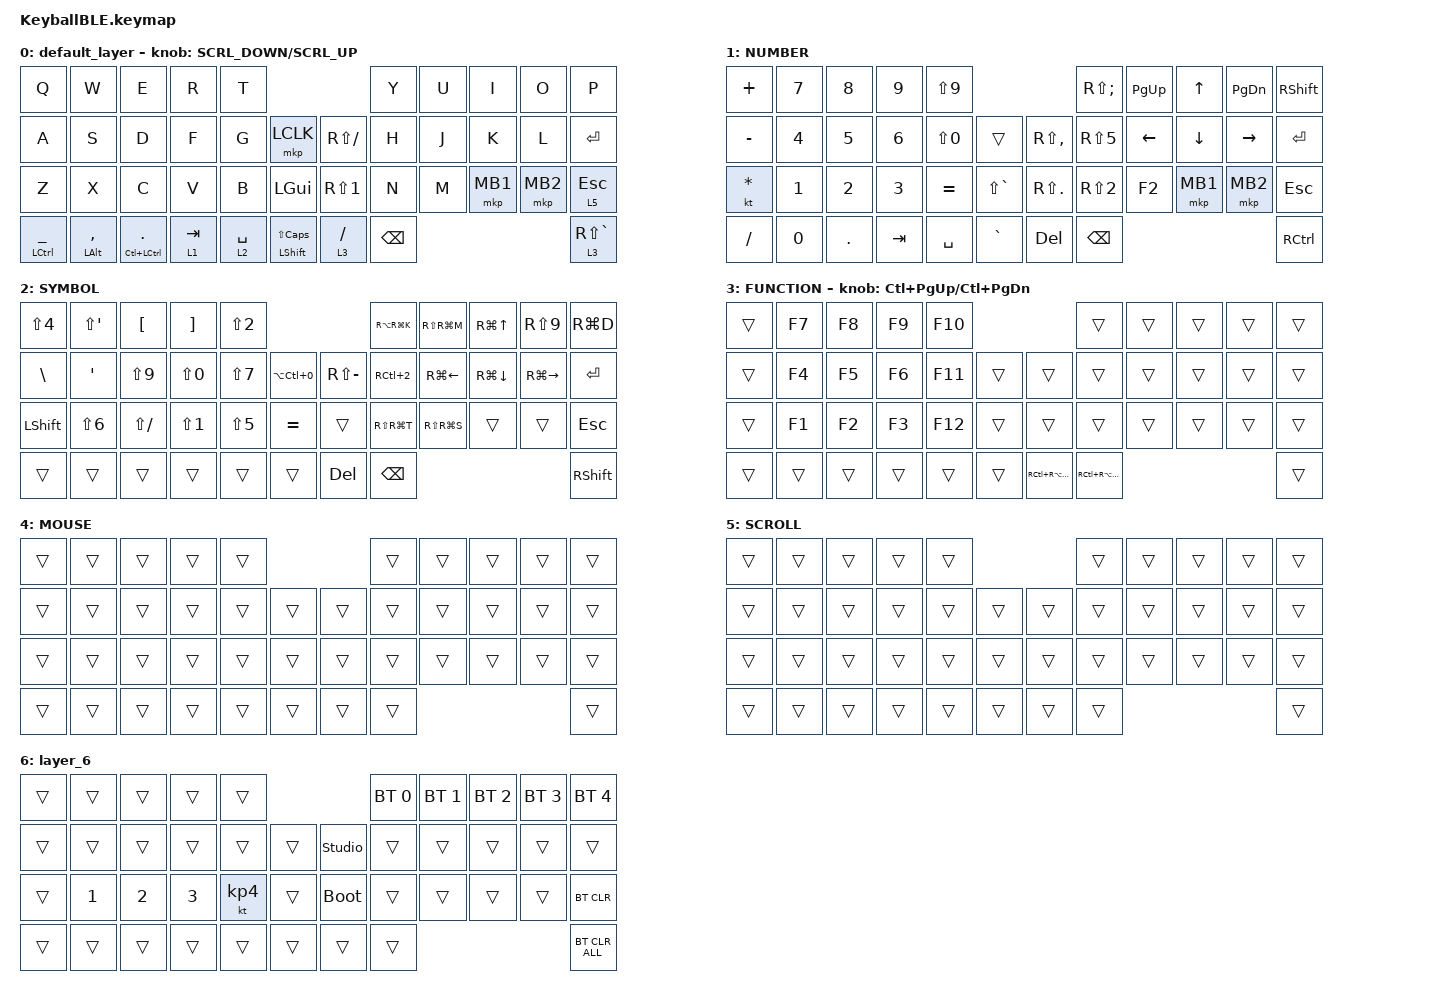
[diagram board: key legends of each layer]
#define ZMK_POINTING_DEFAULT_SCRL_VAL 120    // default: 10

#include <behaviors.dtsi>
#include <dt-bindings/zmk/bt.h>
#include <dt-bindings/zmk/keys.h>
#include <dt-bindings/zmk/pointing.h>

#define MOUSE 4
#define SCROLL 5
#define NUM 6

&mt {
    flavor = "balanced";
    quick-tap-ms = <0>;
};

/ {
    combos {
        compatible = "zmk,combos";

        double_quotation {
            bindings = <&kp DOUBLE_QUOTES>;
            key-positions = <20 21>;
        };
    };

    macros {
        to_layer_0: to_layer_0 {
            compatible = "zmk,behavior-macro-one-param";
            #binding-cells = <1>;
            bindings = <&to 0 &macro_param_1to1 &kp MACRO_PLACEHOLDER>;
            label = "TO_LAYER_0";
        };
    };

    behaviors {
        lt_to_layer_0: lt_to_layer_0 {
            compatible = "zmk,behavior-hold-tap";
            label = "LAYER_TAP_TO_0";
            bindings = <&mo>, <&to_layer_0>;

            #binding-cells = <2>;
            tapping-term-ms = <200>;
        };

        ROTATE: ROTATE {
            compatible = "zmk,behavior-sensor-rotate-var";
            label = "ROTATE";
            #sensor-binding-cells = <2>;
            bindings = <&msc>, <&msc>;

            tap-ms = <20>;
        };
    };

    keymap {
        compatible = "zmk,keymap";

        default_layer {
            bindings = <
&kp Q                        &kp W               &kp E                        &kp R      &kp T                                                       &kp Y          &kp U  &kp I     &kp O     &kp P
&kp A                        &kp S               &kp D                        &kp F      &kp G        &mkp LCLK                    &kp RS(SLASH)     &kp H          &kp J  &kp K     &kp L     &kp ENTER
&kp Z                        &kp X               &kp C                        &kp V      &kp B        &kp LEFT_GUI                 &kp RS(NUMBER_1)  &kp N          &kp M  &mkp MB1  &mkp MB2  &lt 5 ESCAPE
&mt LEFT_CONTROL UNDERSCORE  &mt LEFT_ALT COMMA  &mt LC(LEFT_CONTROL) PERIOD  &lt 1 TAB  &lt 2 SPACE  &mt LEFT_SHIFT LS(CAPS)      &lt 3 SLASH       &kp BACKSPACE                             &lt 3 RS(GRAVE)
            >;

            sensor-bindings = <&ROTATE SCRL_DOWN SCRL_UP>;
        };

        NUMBER {
            bindings = <
&kp PLUS   &kp N7        &kp N8      &kp N9   &kp LS(N9)                                    &kp RS(SEMI)  &kp PAGE_UP     &kp UP_ARROW    &kp PAGE_DOWN    &kp RSHFT
&kp MINUS  &kp N4        &kp N5      &kp N6   &kp LS(N0)  &trans             &kp RS(COMMA)  &kp RS(N5)    &kp LEFT_ARROW  &kp DOWN_ARROW  &kp RIGHT_ARROW  &kp ENTER
&kt STAR   &kp N1        &kp N2      &kp N3   &kp EQUAL   &kp LS(GRAVE)      &kp RS(DOT)    &kp RS(N2)    &kp F2          &mkp MB1        &mkp MB2         &kp ESC
&kp FSLH   &kp NUMBER_0  &kp PERIOD  &kp TAB  &kp SPACE   &kp GRAVE          &kp DEL        &kp BSPC                                                       &kp RIGHT_CONTROL
            >;
        };

        SYMBOL {
            bindings = <
&kp LS(N4)  &kp LS(APOS)  &kp LBKT      &kp RBKT    &kp LS(N2)                                     &kp RA(RG(K))  &kp RS(RG(M))       &kp RG(UP_ARROW)    &kp RS(N9)           &kp RG(D)
&kp BSLH    &kp APOS      &kp LS(N9)    &kp LS(N0)  &kp LS(N7)  &kp LA(LC(N0))      &kp RS(MINUS)  &kp RC(N2)     &kp RG(LEFT_ARROW)  &kp RG(DOWN_ARROW)  &kp RG(RIGHT_ARROW)  &kp ENTER
&kp LSHFT   &kp LS(N6)    &kp LS(FSLH)  &kp LS(N1)  &kp LS(N5)  &kp EQUAL           &trans         &kp RS(RG(T))  &kp RS(RG(S))       &trans              &trans               &kp ESC
&trans      &trans        &trans        &trans      &trans      &trans              &kp DEL        &kp BSPC                                                                    &kp RSHFT
            >;
        };

        FUNCTION {
            bindings = <
&trans  &kp F7  &kp F8  &kp F9  &kp F10                               &trans           &trans  &trans  &trans  &trans
&trans  &kp F4  &kp F5  &kp F6  &kp F11  &trans      &trans           &trans           &trans  &trans  &trans  &trans
&trans  &kp F1  &kp F2  &kp F3  &kp F12  &trans      &trans           &trans           &trans  &trans  &trans  &trans
&trans  &trans  &trans  &trans  &trans   &trans      &kp RC(RA(END))  &kp RC(RA(DEL))                          &trans
            >;

            sensor-bindings = <&inc_dec_kp LC(PAGE_UP) LC(PAGE_DOWN)>;
        };

        MOUSE {
            bindings = <
&trans  &trans  &trans  &trans  &trans                      &trans  &trans  &trans  &trans  &trans
&trans  &trans  &trans  &trans  &trans  &trans      &trans  &trans  &trans  &trans  &trans  &trans
&trans  &trans  &trans  &trans  &trans  &trans      &trans  &trans  &trans  &trans  &trans  &trans
&trans  &trans  &trans  &trans  &trans  &trans      &trans  &trans                          &trans
            >;
        };

        SCROLL {
            bindings = <
&trans  &trans  &trans  &trans  &trans                      &trans  &trans  &trans  &trans  &trans
&trans  &trans  &trans  &trans  &trans  &trans      &trans  &trans  &trans  &trans  &trans  &trans
&trans  &trans  &trans  &trans  &trans  &trans      &trans  &trans  &trans  &trans  &trans  &trans
&trans  &trans  &trans  &trans  &trans  &trans      &trans  &trans                          &trans
            >;
        };

        layer_6 {
            bindings = <
&trans  &trans        &trans        &trans        &trans                                 &bt BT_SEL 0  &bt BT_SEL 1  &bt BT_SEL 2  &bt BT_SEL 3  &bt BT_SEL 4
&trans  &trans        &trans        &trans        &trans     &trans      &studio_unlock  &trans        &trans        &trans        &trans        &trans
&trans  &kp NUMBER_1  &kp NUMBER_2  &kp NUMBER_3  &kt KP_N4  &trans      &bootloader     &trans        &trans        &trans        &trans        &bt BT_CLR
&trans  &trans        &trans        &trans        &trans     &trans      &trans          &trans                                                  &bt BT_CLR_ALL
            >;
        };
    };
};
